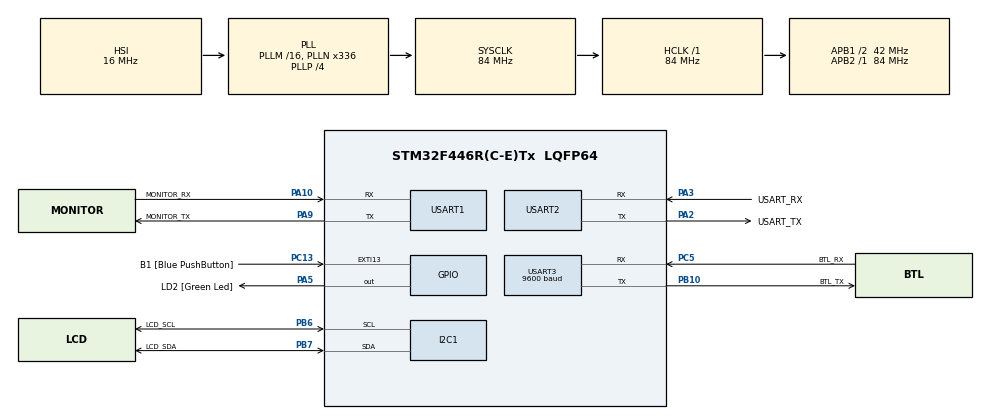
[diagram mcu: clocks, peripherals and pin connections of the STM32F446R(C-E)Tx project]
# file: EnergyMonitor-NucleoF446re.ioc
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FREERTOS.Tasks01=defaultTask,24,128,StartDefaultTask,Default,NULL,Dynamic,NULL,NULL
FREERTOS.configUSE_NEWLIB_REENTRANT=1
I2C1.I2C_Mode=I2C_Standard
Mcu.Family=STM32F4
Mcu.Name=STM32F446R(C-E)Tx
Mcu.Package=LQFP64
NVIC.PriorityGroup=NVIC_PRIORITYGROUP_4
NVIC.TIM1_UP_TIM10_IRQn=true\:15\:0\:false\:false\:true\:false\:false\:true\:true
NVIC.TimeBase=TIM1_UP_TIM10_IRQn
NVIC.TimeBaseIP=TIM1
PA10.GPIO_Label=MONITOR_RX
PA10.Mode=Asynchronous
PA10.Signal=USART1_RX
PA13.GPIO_Label=TMS
PA13.Mode=Serial_Wire
PA13.Signal=SYS_JTMS-SWDIO
PA14.GPIO_Label=TCK
PA14.Mode=Serial_Wire
PA14.Signal=SYS_JTCK-SWCLK
PA2.GPIO_Label=USART_TX
PA2.Mode=Asynchronous
PA2.Signal=USART2_TX
PA3.GPIO_Label=USART_RX
PA3.Mode=Asynchronous
PA3.Signal=USART2_RX
PA5.GPIO_Label=LD2 [Green Led]
PA5.Signal=GPIO_Output
PA9.GPIO_Label=MONITOR_TX
PA9.Mode=Asynchronous
PA9.Signal=USART1_TX
PB10.GPIO_Label=BTL_TX
PB10.Mode=Asynchronous
PB10.Signal=USART3_TX
PB3.GPIO_Label=SWO
PB3.Signal=SYS_JTDO-SWO
PB6.GPIO_Label=LCD_SCL
PB6.Mode=I2C
PB6.Signal=I2C1_SCL
PB7.GPIO_Label=LCD_SDA
PB7.Mode=I2C
PB7.Signal=I2C1_SDA
PC13.GPIO_Label=B1 [Blue PushButton]
PC13.GPIO_ModeDefaultEXTI=GPIO_MODE_IT_FALLING
PC13.Signal=GPXTI13
PC14-OSC32_IN.Mode=LSE-External-Oscillator
PC14-OSC32_IN.Signal=RCC_OSC32_IN
PC15-OSC32_OUT.Mode=LSE-External-Oscillator
PC15-OSC32_OUT.Signal=RCC_OSC32_OUT
PC5.GPIO_Label=BTL_RX
PC5.Mode=Asynchronous
PC5.Signal=USART3_RX
PH0-OSC_IN.Mode=HSE-External-Oscillator
PH0-OSC_IN.Signal=RCC_OSC_IN
PH1-OSC_OUT.Mode=HSE-External-Oscillator
PH1-OSC_OUT.Signal=RCC_OSC_OUT
ProjectManager.HeapSize=0x200
ProjectManager.StackSize=0x400
ProjectManager.TargetToolchain=CMake
RCC.48MHZClocksFreq_Value=84000000
RCC.AHBFreq_Value=84000000
RCC.APB1CLKDivider=RCC_HCLK_DIV2
RCC.APB1Freq_Value=42000000
RCC.APB1TimFreq_Value=84000000
RCC.APB2Freq_Value=84000000
RCC.APB2TimFreq_Value=84000000
RCC.CortexFreq_Value=84000000
RCC.FLatency-AdvancedSettings=FLASH_LATENCY_2
RCC.HCLKFreq_Value=84000000
RCC.HSE_VALUE=8000000
RCC.HSI_VALUE=16000000
RCC.PLLN=336
RCC.PLLP=RCC_PLLP_DIV4
RCC.SYSCLKFreq_VALUE=84000000
RCC.SYSCLKSource=RCC_SYSCLKSOURCE_PLLCLK
RCC.USBFreq_Value=168000000
RCC.VCOOutputFreq_Value=336000000
USART1.VirtualMode=VM_ASYNC
USART2.VirtualMode=VM_ASYNC
USART3.BaudRate=9600
USART3.VirtualMode=VM_ASYNC
VP_FREERTOS_VS_CMSIS_V2.Mode=CMSIS_V2
VP_SYS_VS_tim1.Mode=TIM1
board=NUCLEO-F446RE

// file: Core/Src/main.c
/* USER CODE BEGIN Header */
/**
  ******************************************************************************
  * @file           : main.c
  * @brief          : Main program body
  ******************************************************************************
  * @attention
  *
  * Copyright (c) 2024 STMicroelectronics.
  * All rights reserved.
  *
  * This software is licensed under terms that can be found in the LICENSE file
  * in the root directory of this software component.
  * If no LICENSE file comes with this software, it is provided AS-IS.
  *
  ******************************************************************************
  */
/* USER CODE END Header */
#include "main.h"
#include "cmsis_os.h"
#include "FreeRTOS.h"
#include "task.h"
#include "semphr.h"

#include "lcd_interface.h"
#include "hc05_bluetooth.h"
#include "PZEM.h"
#include "serialization.h"
#include <stdio.h>

I2C_HandleTypeDef hi2c1;

UART_HandleTypeDef huart1;
UART_HandleTypeDef huart2;
UART_HandleTypeDef huart3;
static int contador = 0;
/* Definitions for defaultTask */
osThreadId_t defaultTaskHandle;
const osThreadAttr_t defaultTask_attributes = {
  .name = "defaultTask",
  .stack_size = 128 * 4,
  .priority = (osPriority_t) osPriorityNormal,
};

void SystemClock_Config(void);
static void MX_GPIO_Init(void);
static void MX_USART1_UART_Init(void);
static void MX_USART2_UART_Init(void);
static void MX_USART3_UART_Init(void);
static void MX_I2C1_Init(void);
void StartDefaultTask(void *argument);
void BlinkTaskTest(void *pvParameters);

/* USER CODE BEGIN 0 */
SemaphoreHandle_t mySemaphor;
static TaskHandle_t TaskHandler;

/* USER CODE END 0 */

int main(void)
{

  /* MCU Configuration--------------------------------------------------------*/

  /* Reset of all peripherals, Initializes the Flash interface and the Systick. */
  HAL_Init();
  contador++;

  /* Configure the system clock */
  SystemClock_Config();
  contador++;

  /* Initialize all configured peripherals */
  MX_GPIO_Init();
  MX_USART1_UART_Init();
  MX_USART2_UART_Init();
  MX_USART3_UART_Init();
  MX_I2C1_Init();

  lcd_init(hi2c1);
  init_pzem(huart1);

  /* Init scheduler */
  //osKernelInitialize();

  /* USER CODE BEGIN RTOS_SEMAPHORES */
  mySemaphor = xSemaphoreCreateBinary();
  xSemaphoreGive(mySemaphor);
  /* add semaphores, ... */
  /* USER CODE END RTOS_SEMAPHORES */

  /* Create the thread(s) */
  /* creation of defaultTask */
  //defaultTaskHandle = osThreadNew(StartDefaultTask, NULL, &defaultTask_attributes); // E UMA TAREFA GENERICA PORTATIL
  xTaskCreate(StartDefaultTask, "DefaultTask", 2048, NULL, tskIDLE_PRIORITY, NULL);
  xTaskCreate(BlinkTaskTest, "Blink", 2048, NULL, tskIDLE_PRIORITY, NULL);

  /* Start scheduler */
  //osKernelStart();
  vTaskStartScheduler();

  /* We should never get here as control is now taken by the scheduler */

  /* Infinite loop */
  while (1)
  {
  }
}

void SystemClock_Config(void)
{
  RCC_OscInitTypeDef RCC_OscInitStruct = {0};
  RCC_ClkInitTypeDef RCC_ClkInitStruct = {0};

  /** Configure the main internal regulator output voltage
  */
  __HAL_RCC_PWR_CLK_ENABLE();
  __HAL_PWR_VOLTAGESCALING_CONFIG(PWR_REGULATOR_VOLTAGE_SCALE3);

  /** Initializes the RCC Oscillators according to the specified parameters
  * in the RCC_OscInitTypeDef structure.
  */
  RCC_OscInitStruct.OscillatorType = RCC_OSCILLATORTYPE_HSI;
  RCC_OscInitStruct.HSIState = RCC_HSI_ON;
  RCC_OscInitStruct.HSICalibrationValue = RCC_HSICALIBRATION_DEFAULT;
  RCC_OscInitStruct.PLL.PLLState = RCC_PLL_ON;
  RCC_OscInitStruct.PLL.PLLSource = RCC_PLLSOURCE_HSI;
  RCC_OscInitStruct.PLL.PLLM = 16;
  RCC_OscInitStruct.PLL.PLLN = 336;
  RCC_OscInitStruct.PLL.PLLP = RCC_PLLP_DIV4;
  RCC_OscInitStruct.PLL.PLLQ = 2;
  RCC_OscInitStruct.PLL.PLLR = 2;
  if (HAL_RCC_OscConfig(&RCC_OscInitStruct) != HAL_OK)
  {
    Error_Handler();
  }

  /** Initializes the CPU, AHB and APB buses clocks
  */
  RCC_ClkInitStruct.ClockType = RCC_CLOCKTYPE_HCLK|RCC_CLOCKTYPE_SYSCLK
                              |RCC_CLOCKTYPE_PCLK1|RCC_CLOCKTYPE_PCLK2;
  RCC_ClkInitStruct.SYSCLKSource = RCC_SYSCLKSOURCE_PLLCLK;
  RCC_ClkInitStruct.AHBCLKDivider = RCC_SYSCLK_DIV1;
  RCC_ClkInitStruct.APB1CLKDivider = RCC_HCLK_DIV2;
  RCC_ClkInitStruct.APB2CLKDivider = RCC_HCLK_DIV1;

  if (HAL_RCC_ClockConfig(&RCC_ClkInitStruct, FLASH_LATENCY_2) != HAL_OK)
  {
    Error_Handler();
  }
}

static void MX_I2C1_Init(void)
{

  hi2c1.Instance = I2C1;
  hi2c1.Init.ClockSpeed = 100000;
  hi2c1.Init.DutyCycle = I2C_DUTYCYCLE_2;
  hi2c1.Init.OwnAddress1 = 0;
  hi2c1.Init.AddressingMode = I2C_ADDRESSINGMODE_7BIT;
  hi2c1.Init.DualAddressMode = I2C_DUALADDRESS_DISABLE;
  hi2c1.Init.OwnAddress2 = 0;
  hi2c1.Init.GeneralCallMode = I2C_GENERALCALL_DISABLE;
  hi2c1.Init.NoStretchMode = I2C_NOSTRETCH_DISABLE;
  if (HAL_I2C_Init(&hi2c1) != HAL_OK)
  {
    Error_Handler();
  }

}

static void MX_USART1_UART_Init(void)
{

  huart1.Instance = USART1;
  huart1.Init.BaudRate = 115200;
  huart1.Init.WordLength = UART_WORDLENGTH_8B;
  huart1.Init.StopBits = UART_STOPBITS_1;
  huart1.Init.Parity = UART_PARITY_NONE;
  huart1.Init.Mode = UART_MODE_TX_RX;
  huart1.Init.HwFlowCtl = UART_HWCONTROL_NONE;
  huart1.Init.OverSampling = UART_OVERSAMPLING_16;
  if (HAL_UART_Init(&huart1) != HAL_OK)
  {
    Error_Handler();
  }

}

static void MX_USART2_UART_Init(void)
{

  huart2.Instance = USART2;
  huart2.Init.BaudRate = 115200;
  huart2.Init.WordLength = UART_WORDLENGTH_8B;
  huart2.Init.StopBits = UART_STOPBITS_1;
  huart2.Init.Parity = UART_PARITY_NONE;
  huart2.Init.Mode = UART_MODE_TX_RX;
  huart2.Init.HwFlowCtl = UART_HWCONTROL_NONE;
  huart2.Init.OverSampling = UART_OVERSAMPLING_16;
  if (HAL_UART_Init(&huart2) != HAL_OK)
  {
    Error_Handler();

  }

}

static void MX_USART3_UART_Init(void)
{

  huart3.Instance = USART3;
  huart3.Init.BaudRate = 9600;
  huart3.Init.WordLength = UART_WORDLENGTH_8B;
  huart3.Init.StopBits = UART_STOPBITS_1;
  huart3.Init.Parity = UART_PARITY_NONE;
  huart3.Init.Mode = UART_MODE_TX_RX;
  huart3.Init.HwFlowCtl = UART_HWCONTROL_NONE;
  huart3.Init.OverSampling = UART_OVERSAMPLING_16;
  if (HAL_UART_Init(&huart3) != HAL_OK)
  {
    Error_Handler();
  }

}

static void MX_GPIO_Init(void)
{
  GPIO_InitTypeDef GPIO_InitStruct = {0};

  /* GPIO Ports Clock Enable */
  __HAL_RCC_GPIOC_CLK_ENABLE();
  __HAL_RCC_GPIOH_CLK_ENABLE();
  __HAL_RCC_GPIOA_CLK_ENABLE();
  __HAL_RCC_GPIOB_CLK_ENABLE();

  /*Configure GPIO pin Output Level */
  HAL_GPIO_WritePin(LD2_GPIO_Port, LD2_Pin, GPIO_PIN_RESET);

  /*Configure GPIO pin : B1_Pin */
  GPIO_InitStruct.Pin = B1_Pin;
  GPIO_InitStruct.Mode = GPIO_MODE_IT_FALLING;
  GPIO_InitStruct.Pull = GPIO_NOPULL;
  HAL_GPIO_Init(B1_GPIO_Port, &GPIO_InitStruct);

  /*Configure GPIO pin : LD2_Pin */
  GPIO_InitStruct.Pin = LD2_Pin;
  GPIO_InitStruct.Mode = GPIO_MODE_OUTPUT_PP;
  GPIO_InitStruct.Pull = GPIO_NOPULL;
  GPIO_InitStruct.Speed = GPIO_SPEED_FREQ_LOW;
  HAL_GPIO_Init(LD2_GPIO_Port, &GPIO_InitStruct);

}

void StartDefaultTask(void *pvParameters){
  /* USER CODE BEGIN 5 */
  hc05_bluetooth_init(huart3);

  lcd_send_string("pedro angelus");

  osDelay(1000);
  uint8_t count = 0;

  lcd_put_cur(1,0);
  meterData a;
  for(;;)
  {
    char msg[21];
    sprintf(msg, "cout angelus: %d", count++);
    lcd_send_string(msg);

    a.voltage = 250;
    a.current_mA = 110;
    a.frequency = 55;
    a.potFact = 1;

    bl_serialize(&a);

    vTaskDelay(1000);
  }
  /* USER CODE END 5 */
}

void BlinkTaskTest(void *pvParameters){

  uint8_t count = 0;
  lcd_put_cur(1,0);
  for(;;){
    if(xSemaphoreTake(mySemaphor, portMAX_DELAY) == pdFALSE) return;
    char msg[21];
    sprintf(msg, "cout pedro: %d", count++);
    lcd_send_string(msg);

    HAL_GPIO_TogglePin(GPIOA, LD2_Pin);
    xSemaphoreGive(mySemaphor);
    vTaskDelay(500);
  }
}

void HAL_TIM_PeriodElapsedCallback(TIM_HandleTypeDef *htim)
{
  if (htim->Instance == TIM1) {
    HAL_IncTick();
  }
}

void Error_Handler(void)
{
  __disable_irq();
  while (1)
  {
  }
}
